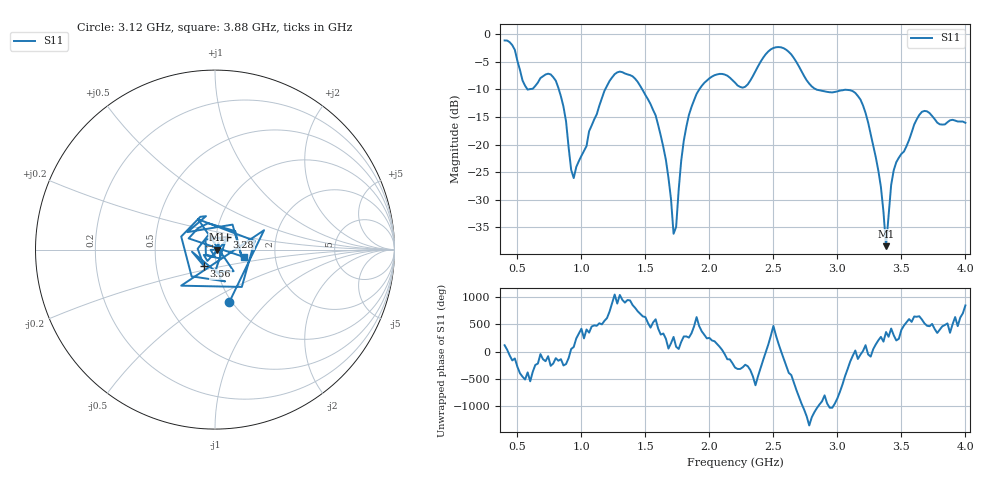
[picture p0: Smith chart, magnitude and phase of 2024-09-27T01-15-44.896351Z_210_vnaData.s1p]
!Created with skrf (http://scikit-rf.org).
# Hz S RI R 50.0
!freq ReS11 ImS11
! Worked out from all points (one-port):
!   181 points, 400 MHz to 4 GHz, reference 50 ohm
!   lowest |S11| = -38.4 dB at 3.38 GHz (marker M1), VSWR 1.02, Z = 51.2 - j0.0101 ohm
!   |S11| at or under -10 dB: 823.7 MHz to 1.186 GHz (362.1 MHz wide, 36 % of centre); 1.475 GHz to 1.921 GHz (445.4 MHz wide, 26.2 % of centre); 2.835 GHz to end of sweep (the widest 3 of 4)
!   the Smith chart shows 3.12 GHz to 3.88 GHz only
!   S11 on the Smith chart (normalised r, x): 3.12 GHz: 0.97, -0.63; 3.28 GHz: 1.13, +0.16; 3.56 GHz: 0.87, -0.16; 3.88 GHz: 1.38, -0.12
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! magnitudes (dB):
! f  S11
! 400 MHz  -1.1
! 580 MHz  -10.0
! 760 MHz  -7.3
! 860 MHz  -13.1
! 940 MHz  -26.1
! 1.18 GHz  -10.3
! 1.3 GHz  -6.8
! 1.58 GHz  -14.7
! 1.66 GHz  -22.8
! 1.72 GHz  -36.2
! 1.74 GHz  -34.9
! 1.76 GHz  -28.2
! 1.82 GHz  -16.8
! 1.9 GHz  -10.8
! 2.2 GHz  -8.8
! 2.5 GHz  -2.5
! 2.66 GHz  -4.3
! 2.82 GHz  -9.8
! 3.1 GHz  -10.2
! 3.12 GHz  -10.3
! 3.28 GHz  -20.2
! 3.34 GHz  -27.7
! 3.38 GHz  -38.4
! 3.44 GHz  -24.7
! 3.56 GHz  -19.2
! 3.66 GHz  -14.1
! 3.88 GHz  -15.6
! 4 GHz  -16.1
